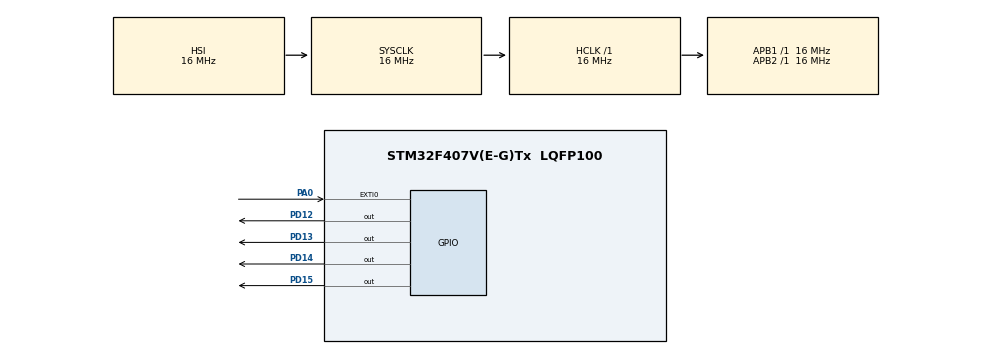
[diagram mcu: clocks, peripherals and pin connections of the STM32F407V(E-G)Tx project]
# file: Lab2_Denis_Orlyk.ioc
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Mcu.Family=STM32F4
Mcu.Name=STM32F407V(E-G)Tx
Mcu.Package=LQFP100
NVIC.EXTI0_IRQn=true\:0\:0\:false\:false\:true\:true\:true\:true
NVIC.PriorityGroup=NVIC_PRIORITYGROUP_4
PA0-WKUP.GPIO_PuPd=GPIO_PULLDOWN
PA0-WKUP.Signal=GPXTI0
PD12.Signal=GPIO_Output
PD13.Signal=GPIO_Output
PD14.Signal=GPIO_Output
PD15.Signal=GPIO_Output
ProjectManager.HeapSize=0x200
ProjectManager.StackSize=0x400
ProjectManager.TargetToolchain=STM32CubeIDE
RCC.AHBFreq_Value=16000000
RCC.APB1Freq_Value=16000000
RCC.APB2Freq_Value=16000000
RCC.CortexFreq_Value=16000000
RCC.HSE_VALUE=25000000
RCC.HSI_VALUE=16000000
RCC.LSE_VALUE=32768
RCC.SYSCLKFreq_VALUE=16000000
RCC.VCOOutputFreq_Value=192000000
board=custom

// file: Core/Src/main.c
/* USER CODE BEGIN Header */
/**
  ******************************************************************************
  * @file           : main.c
  * @brief          : Main program body
  ******************************************************************************
  * @attention
  *
  * Copyright (c) 2026 STMicroelectronics.
  * All rights reserved.
  *
  * This software is licensed under terms that can be found in the LICENSE file
  * in the root directory of this software component.
  * If no LICENSE file comes with this software, it is provided AS-IS.
  *
  ******************************************************************************
  */
/* USER CODE END Header */
#include "main.h"

/* USER CODE BEGIN PV */
unsigned int ledN = 0;
/* USER CODE END PV */

void SystemClock_Config(void);
static void MX_GPIO_Init(void);

/* USER CODE BEGIN 0 */

void firstMode() {

	HAL_GPIO_WritePin(GPIOD, GPIO_PIN_15, GPIO_PIN_SET);
	HAL_GPIO_WritePin(GPIOD, GPIO_PIN_14, GPIO_PIN_SET);
	HAL_GPIO_WritePin(GPIOD, GPIO_PIN_13, GPIO_PIN_SET);
	HAL_GPIO_WritePin(GPIOD, GPIO_PIN_12, GPIO_PIN_SET);
}

void secondMode() {

	HAL_GPIO_WritePin(GPIOD, GPIO_PIN_15, GPIO_PIN_SET);
	HAL_Delay(200);
	HAL_GPIO_WritePin(GPIOD, GPIO_PIN_14, GPIO_PIN_SET);
	HAL_Delay(200);
	HAL_GPIO_WritePin(GPIOD, GPIO_PIN_13, GPIO_PIN_SET);
	HAL_Delay(200);
	HAL_GPIO_WritePin(GPIOD, GPIO_PIN_12, GPIO_PIN_SET);
	HAL_Delay(200);

	HAL_GPIO_WritePin(GPIOD, GPIO_PIN_15, GPIO_PIN_RESET);
	HAL_Delay(200);
	HAL_GPIO_WritePin(GPIOD, GPIO_PIN_14, GPIO_PIN_RESET);
	HAL_Delay(200);
	HAL_GPIO_WritePin(GPIOD, GPIO_PIN_13, GPIO_PIN_RESET);
	HAL_Delay(200);
	HAL_GPIO_WritePin(GPIOD, GPIO_PIN_12, GPIO_PIN_RESET);
	HAL_Delay(200);
}

void thirdMode() {

	HAL_GPIO_WritePin(GPIOD, GPIO_PIN_15, GPIO_PIN_SET);
	HAL_GPIO_WritePin(GPIOD, GPIO_PIN_13, GPIO_PIN_SET);
	HAL_Delay(500);
	HAL_GPIO_WritePin(GPIOD, GPIO_PIN_15, GPIO_PIN_RESET);
	HAL_GPIO_WritePin(GPIOD, GPIO_PIN_13, GPIO_PIN_RESET);

	HAL_GPIO_WritePin(GPIOD, GPIO_PIN_14, GPIO_PIN_SET);
	HAL_GPIO_WritePin(GPIOD, GPIO_PIN_12, GPIO_PIN_SET);
	HAL_Delay(500);
	HAL_GPIO_WritePin(GPIOD, GPIO_PIN_14, GPIO_PIN_RESET);
	HAL_GPIO_WritePin(GPIOD, GPIO_PIN_12, GPIO_PIN_RESET);
}

void fourthMode() {

	HAL_GPIO_WritePin(GPIOD, GPIO_PIN_15, GPIO_PIN_SET);
	HAL_GPIO_WritePin(GPIOD, GPIO_PIN_14, GPIO_PIN_SET);
	HAL_GPIO_WritePin(GPIOD, GPIO_PIN_13, GPIO_PIN_SET);
	HAL_GPIO_WritePin(GPIOD, GPIO_PIN_12, GPIO_PIN_SET);
	HAL_Delay(500);
	HAL_GPIO_WritePin(GPIOD, GPIO_PIN_15, GPIO_PIN_RESET);
	HAL_GPIO_WritePin(GPIOD, GPIO_PIN_14, GPIO_PIN_RESET);
	HAL_GPIO_WritePin(GPIOD, GPIO_PIN_13, GPIO_PIN_RESET);
	HAL_GPIO_WritePin(GPIOD, GPIO_PIN_12, GPIO_PIN_RESET);
	HAL_Delay(500);

}
/* USER CODE END 0 */

int main(void)
{

  /* MCU Configuration--------------------------------------------------------*/

  /* Reset of all peripherals, Initializes the Flash interface and the Systick. */
  HAL_Init();

  /* Configure the system clock */
  SystemClock_Config();

  /* Initialize all configured peripherals */
  MX_GPIO_Init();

  /* Infinite loop */
  /* USER CODE BEGIN WHILE */
  while (1)
  {
	  switch (ledN) {
	  case 1:
		  firstMode();
		  break;
	  case 2:
		  secondMode();
		  break;
	  case 3:
		  thirdMode();
		  break;
	  case 4:
		  fourthMode();
		  break;
	  }
    /* USER CODE END WHILE */

  }
}

void SystemClock_Config(void)
{
  RCC_OscInitTypeDef RCC_OscInitStruct = {0};
  RCC_ClkInitTypeDef RCC_ClkInitStruct = {0};

  /** Configure the main internal regulator output voltage
  */
  __HAL_RCC_PWR_CLK_ENABLE();
  __HAL_PWR_VOLTAGESCALING_CONFIG(PWR_REGULATOR_VOLTAGE_SCALE1);

  /** Initializes the RCC Oscillators according to the specified parameters
  * in the RCC_OscInitTypeDef structure.
  */
  RCC_OscInitStruct.OscillatorType = RCC_OSCILLATORTYPE_HSI;
  RCC_OscInitStruct.HSIState = RCC_HSI_ON;
  RCC_OscInitStruct.HSICalibrationValue = RCC_HSICALIBRATION_DEFAULT;
  RCC_OscInitStruct.PLL.PLLState = RCC_PLL_NONE;
  if (HAL_RCC_OscConfig(&RCC_OscInitStruct) != HAL_OK)
  {
    Error_Handler();
  }

  /** Initializes the CPU, AHB and APB buses clocks
  */
  RCC_ClkInitStruct.ClockType = RCC_CLOCKTYPE_HCLK|RCC_CLOCKTYPE_SYSCLK
                              |RCC_CLOCKTYPE_PCLK1|RCC_CLOCKTYPE_PCLK2;
  RCC_ClkInitStruct.SYSCLKSource = RCC_SYSCLKSOURCE_HSI;
  RCC_ClkInitStruct.AHBCLKDivider = RCC_SYSCLK_DIV1;
  RCC_ClkInitStruct.APB1CLKDivider = RCC_HCLK_DIV1;
  RCC_ClkInitStruct.APB2CLKDivider = RCC_HCLK_DIV1;

  if (HAL_RCC_ClockConfig(&RCC_ClkInitStruct, FLASH_LATENCY_0) != HAL_OK)
  {
    Error_Handler();
  }
}

static void MX_GPIO_Init(void)
{
  GPIO_InitTypeDef GPIO_InitStruct = {0};

  /* GPIO Ports Clock Enable */
  __HAL_RCC_GPIOA_CLK_ENABLE();
  __HAL_RCC_GPIOD_CLK_ENABLE();

  /*Configure GPIO pin Output Level */
  HAL_GPIO_WritePin(GPIOD, GPIO_PIN_12|GPIO_PIN_13|GPIO_PIN_14|GPIO_PIN_15, GPIO_PIN_RESET);

  /*Configure GPIO pin : PA0 */
  GPIO_InitStruct.Pin = GPIO_PIN_0;
  GPIO_InitStruct.Mode = GPIO_MODE_IT_RISING;
  GPIO_InitStruct.Pull = GPIO_PULLDOWN;
  HAL_GPIO_Init(GPIOA, &GPIO_InitStruct);

  /*Configure GPIO pins : PD12 PD13 PD14 PD15 */
  GPIO_InitStruct.Pin = GPIO_PIN_12|GPIO_PIN_13|GPIO_PIN_14|GPIO_PIN_15;
  GPIO_InitStruct.Mode = GPIO_MODE_OUTPUT_PP;
  GPIO_InitStruct.Pull = GPIO_NOPULL;
  GPIO_InitStruct.Speed = GPIO_SPEED_FREQ_LOW;
  HAL_GPIO_Init(GPIOD, &GPIO_InitStruct);

  /* EXTI interrupt init*/
  HAL_NVIC_SetPriority(EXTI0_IRQn, 0, 0);
  HAL_NVIC_EnableIRQ(EXTI0_IRQn);

}

void Error_Handler(void)
{
  __disable_irq();
  while (1)
  {
  }
}
